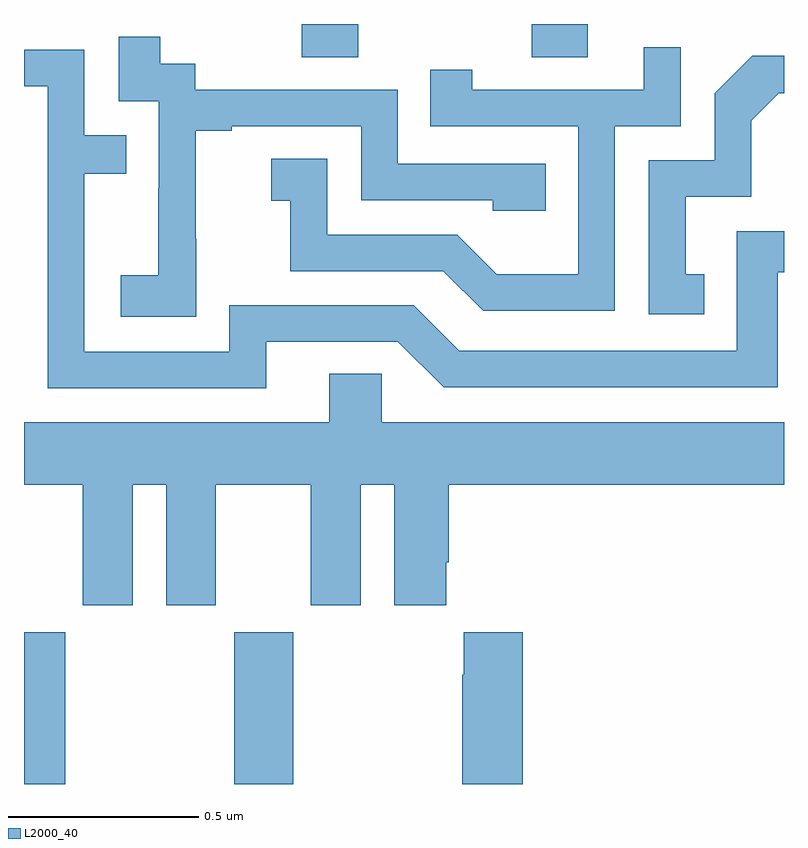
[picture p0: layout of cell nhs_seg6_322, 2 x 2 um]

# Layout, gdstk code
import gdstk
lib = gdstk.Library(unit=1e-6, precision=1e-09)
def R(c, l, rs):  # rectangles x0, y0, x1, y1
    for r in rs: c.add(gdstk.rectangle(r[:2], r[2:], *l))
def P(c, l, *ps):  # polygons
    for p in ps: c.add(gdstk.Polygon(p, *l))
L2000_40 = (2000, 40)

nhs_seg6_322 = lib.new_cell('nhs_seg6_322')
R(nhs_seg6_322, L2000_40, [(114,994.5,114.108,994.9), (114.553,994.5,114.708,994.9), (114.731,996.412,114.879,996.5), (115.336,996.412,115.483,996.5)])
P(nhs_seg6_322, L2000_40, [(114.453,995.935),(114.452,995.935),(114.452,996.219),(114.547,996.219),(114.547,996.231),(114.888,996.231),(114.888,996.036),(115.233,996.036),(115.233,996.009),(115.373,996.009),(115.373,996.132),(114.984,996.132),(114.984,996.327),(114.45,996.327),(114.45,996.396),(114.358,996.396),(114.358,996.466),(114.249,996.466),(114.249,996.297),(114.354,996.297),(114.354,996.068),(114.353,996.068),(114.353,995.839),(114.255,995.839),(114.255,995.729),(114.453,995.729)],
  [(115.554,996.231),(115.728,996.231),(115.728,996.439),(115.631,996.439),(115.631,996.327),(115.18,996.327),(115.18,996.379),(115.069,996.379),(115.069,996.231),(115.458,996.231),(115.458,995.842),(115.244,995.842),(115.14,995.946),(114.798,995.946),(114.798,996.145),(114.651,996.145),(114.651,996.035),(114.7,996.035),(114.7,995.85),(115.103,995.85),(115.208,995.745),(115.554,995.745)],
  [(114.637,995.664),(114.984,995.664),(115.104,995.544),(115.984,995.544),(115.984,995.847),(116,995.847),(116,995.955),(115.875,995.955),(115.875,995.64),(115.146,995.64),(115.026,995.76),(114.54,995.76),(114.54,995.637),(114.159,995.637),(114.159,996.106),(114.269,996.106),(114.269,996.207),(114.159,996.207),(114.159,996.432),(114,996.432),(114,996.336),(114.063,996.336),(114.063,995.541),(114.637,995.541)],
  [(115.79,995.841),(115.741,995.841),(115.741,996.045),(115.914,996.045),(115.914,996.246),(115.986,996.318),(116,996.318),(116,996.416),(115.916,996.416),(115.818,996.318),(115.818,996.141),(115.644,996.141),(115.644,995.736),(115.79,995.736)],
  [(114.286,995.288),(114.374,995.288),(114.374,994.971),(114.505,994.971),(114.505,995.288),(114.755,995.288),(114.755,994.971),(114.886,994.971),(114.886,995.288),(114.974,995.288),(114.974,994.971),(115.111,994.971),(115.111,995.083),(115.118,995.083),(115.118,995.288),(116,995.288),(116,995.452),(114.942,995.452),(114.942,995.579),(114.803,995.579),(114.803,995.452),(114,995.452),(114,995.288),(114.155,995.288),(114.155,994.971),(114.286,994.971)],
  [(115.313,994.9),(115.157,994.9),(115.157,994.787),(115.153,994.787),(115.153,994.5),(115.313,994.5)])

lib.write_gds('nhs_seg6_322.gds')
